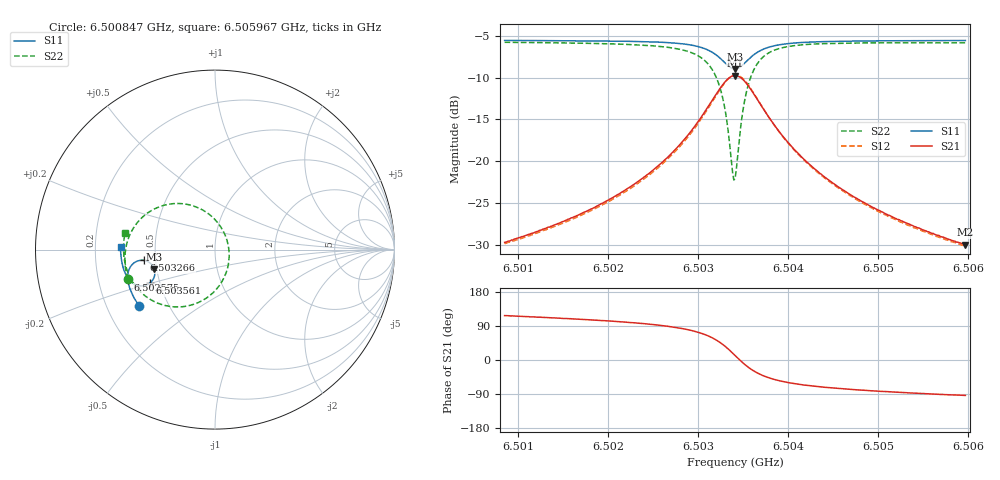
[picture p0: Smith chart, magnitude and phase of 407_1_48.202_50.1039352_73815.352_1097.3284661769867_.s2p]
#  HZ  S  RI  R  50.00
! Rohde & Schwarz Vector Network Analyzer
! Rohde-Schwarz,ZNB20-2Port,1311601062101988,3.16
! Created: UTC 3/20/2024, 11:54:16 AM
! freq[Hz]  re:S11  im:S11  re:S21  im:S21  re:S12  im:S12  re:S22  im:S22
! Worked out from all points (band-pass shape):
!   401 points, 6.500847 GHz to 6.505967 GHz, reference 50 ohm
!   highest |S21| = -9.76 dB at 6.503407 GHz (marker M1); lowest = -29.9 dB at 6.505967 GHz (marker M2)
!   |S21| within 3 dB of the highest: 6.503152 GHz to 6.503664 GHz (511.8 kHz wide, 0.00787 % of centre)
!   lowest |S11| = -9.0 dB at 6.503407 GHz (marker M3), VSWR 2.10, Z = 24.2 - j6.04 ohm
!   |S11| at or under -10 dB: nowhere
!   |S22| runs from -22.2 to -5.8 dB; largest |S21 - S12| = 0.011
!   S11 on the Smith chart (normalised r, x): 6.500847 GHz: 0.34, -0.30; 6.502575 GHz: 0.33, -0.15; 6.503266 GHz: 0.43, -0.06; 6.503561 GHz: 0.44, -0.20; 6.505967 GHz: 0.31, +0.01
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6.5008473e9  -0.4215 -0.3156  -0.015 0.0293  -0.0133 0.0294  -0.4865 -0.164
6.5017049e9  -0.4591 -0.253  -0.0144 0.0468  -0.012 0.0464  -0.5015 -0.0742
6.5021785e9  -0.4761 -0.2116  -0.0118 0.0659  -0.00874 0.0649  -0.4994 -0.00845
6.5025624e9  -0.4856 -0.1699  -0.00308 0.0948  0.00051 0.0927  -0.4811 0.0666
6.5025752e9  -0.4859 -0.1682  -0.00258 0.0963  0.00114 0.0938  -0.4798 0.0698
6.5028184e9  -0.4851 -0.1331  0.0156 0.1293  0.0194 0.1254  -0.4417 0.1389
6.5029976e9  -0.4737 -0.1  0.0501 0.1652  0.0533 0.1598  -0.3739 0.2052
6.503164e9  -0.4393 -0.0669  0.1271 0.1986  0.1284 0.1923  -0.2325 0.256
6.5032664e9  -0.3968 -0.06  0.2119 0.1901  0.2121 0.1849  -0.085 0.2289
6.5033176e9  -0.3714 -0.0684  0.2601 0.1626  0.2607 0.1581  -0.00497 0.1724
6.5033816e9  -0.3448 -0.0944  0.3078 0.0999  0.3102 0.095  0.0669 0.0519
6.5034072e9  -0.3385 -0.1088  0.3181 0.0679  0.3211 0.0624  0.0781 -0.00738
6.5034328e9  -0.3353 -0.1242  0.3219 0.0348  0.3253 0.0281  0.0767 -0.0681
6.5034968e9  -0.3421 -0.1611  0.3043 -0.0425  0.3066 -0.0521  0.0229 -0.2022
6.5035608e9  -0.3631 -0.1868  0.2621 -0.0963  0.2613 -0.1072  -0.0722 -0.2847
6.5036632e9  -0.4021 -0.202  0.1885 -0.1326  0.1833 -0.142  -0.2206 -0.3194
6.5038296e9  -0.4479 -0.1925  0.1077 -0.13  0.1009 -0.135  -0.3663 -0.2739
6.5040088e9  -0.4753 -0.1711  0.0635 -0.1104  0.0575 -0.1126  -0.4379 -0.2098
6.5042648e9  -0.4958 -0.1413  0.0338 -0.0865  0.0292 -0.087  -0.4812 -0.1381
6.5047e9  -0.5129 -0.0967  0.0134 -0.0613  0.0103 -0.061  -0.5051 -0.0556
6.5051223e9  -0.521 -0.0581  0.00507 -0.0474  0.0028 -0.0467  -0.5099 0.002
6.5059671e9  -0.5259 0.0131  -0.00191 -0.0318  -0.00341 -0.031  -0.5018 0.0902
